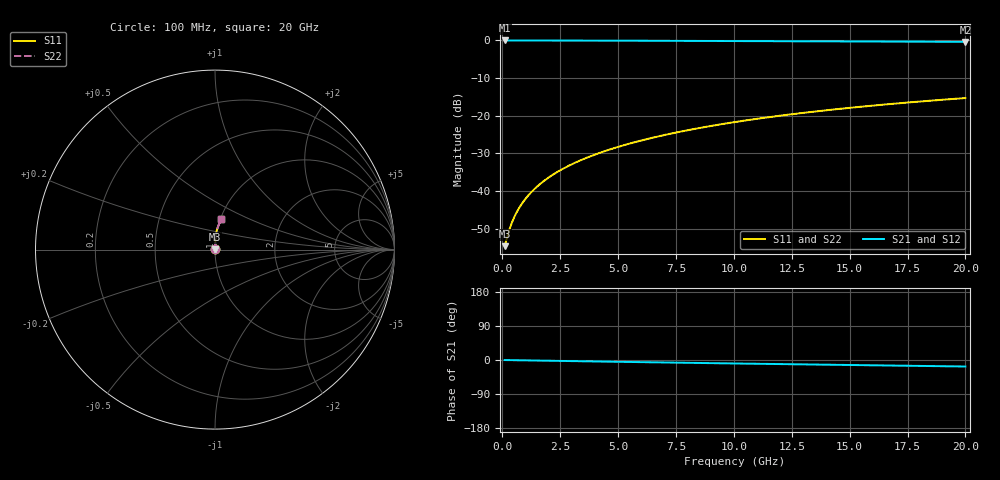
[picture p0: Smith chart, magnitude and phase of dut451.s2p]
! Touchstone file exported from HFSS 2024.1.0
!  File:  C:/UserFiles/LocalFiles/RDL_TSV_Batchsim/temp_RDL_bottom_451_1779685115.aedt
!  Generated:  01:00:52 PM May 25, 2026
!  Design:  RDL_bottom
!  Project:  temp_RDL_bottom_451_1779685115
!  Setup:  Setup1
!  Solution:  Sweep
! Variables:
!  dtsv = 10.80580581um
!  hbump = 3um
!  htsv = 80.75um
!  ldown = 233.06um
!  lrdl = 100um
!  p = 40
!  p1 = 41.04um
!  rhole = 1um
!  t = 450um
!  tdown = 2.82um
!  trdl = 3.915915916um
!  wdown = 21.48um
!  wrdl = 20um
# GHz S MA R 50.000000
! Terminal data exported
! Port[1] = RDL1_T1
! Port[2] = RDL1_T2
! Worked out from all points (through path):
!   200 points, 100 MHz to 20 GHz, reference 50 ohm
!   highest |S21| = -0.01 dB at 100 MHz (marker M1); lowest = -0.4 dB at 20 GHz (marker M2)
!   group delay of S21, straight-line fit = 2.37 ps
!   lowest |S11| = -54.7 dB at 100 MHz (marker M3), VSWR 1.00, Z = 50.2 + j0.0842 ohm
!   |S11| at or under -10 dB: start of sweep to end of sweep
!   |S22| runs from -54.7 to -15.3 dB; largest |S21 - S12| = 5.2e-15
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0.1  0.001843 27.1  0.9984 -0.1  0.9984 -0.1  0.001843 27.1
! Gamma 0 0 0 0
! Port Impedance 50 0 50 0
0.3  0.003012 54.3  0.9982 -0.3  0.9982 -0.3  0.003012 54.3
0.4  0.003688 60.4  0.9981 -0.4  0.9981 -0.4  0.003688 60.4
0.5  0.004371 64.5  0.998 -0.5  0.998 -0.5  0.004371 64.5
0.6  0.005057 67.7  0.998 -0.6  0.998 -0.6  0.005057 67.7
0.8  0.006437 72.1  0.9978 -0.8  0.9978 -0.8  0.006437 72.1
1  0.007833 75.2  0.9977 -1.0  0.9977 -1.0  0.007833 75.2
1.2  0.009247 77.5  0.9975 -1.2  0.9975 -1.2  0.009247 77.5
1.4  0.01068 79.3  0.9974 -1.4  0.9974 -1.4  0.01068 79.3
1.7  0.01285 81.2  0.9971 -1.7  0.9971 -1.7  0.01285 81.2
2.2  0.01653 83.5  0.9966 -2.2  0.9966 -2.2  0.01653 83.5
2.8  0.02105 85.2  0.9958 -2.7  0.9958 -2.7  0.02105 85.2
3.5  0.02644 86.5  0.9948 -3.4  0.9948 -3.4  0.02644 86.5
4.2  0.03196 87.4  0.9936 -4.0  0.9936 -4.0  0.03196 87.3
5  0.03843 87.9  0.992 -4.8  0.992 -4.8  0.03843 87.9
5.9  0.0459 88.2  0.9901 -5.6  0.9901 -5.6  0.0459 88.2
6.8  0.05356 88.2  0.9881 -6.4  0.9881 -6.4  0.05356 88.1
8.4  0.06752 87.7  0.9843 -7.8  0.9843 -7.8  0.06752 87.7
10.1  0.0827 86.7  0.9802 -9.2  0.9802 -9.2  0.0827 86.7
13.4  0.1126 84.1  0.9723 -11.9  0.9723 -11.9  0.1126 84.1
16.7  0.1423 81.2  0.9646 -14.6  0.9646 -14.6  0.1423 81.2
20  0.1714 78.2  0.9569 -17.2  0.9569 -17.2  0.1714 78.2
